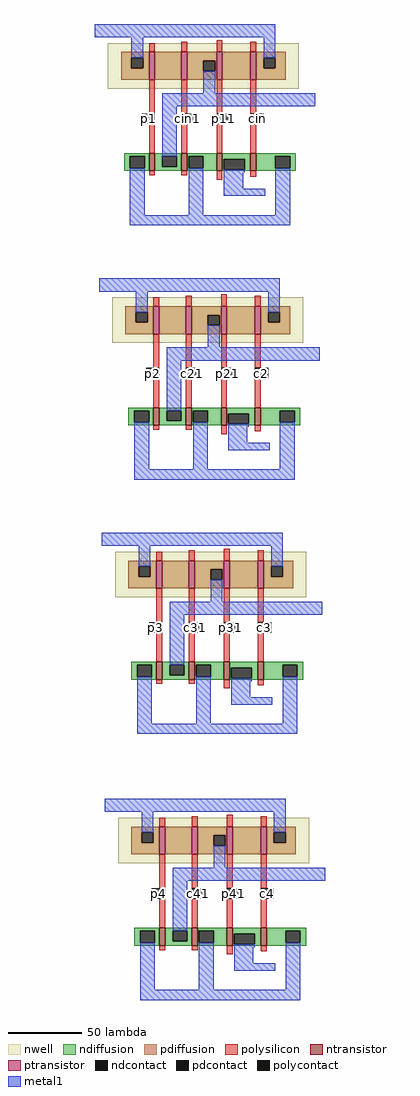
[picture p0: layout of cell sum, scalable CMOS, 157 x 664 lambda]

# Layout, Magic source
magic
tech scmos
use xor_cla  xor_cla_0
transform 1 0 77 0 1 85
box -81 -80 69 57
use xor_cla  xor_cla_1
transform 1 0 80 0 1 -88
box -81 -80 69 57
use xor_cla  xor_cla_2
transform 1 0 82 0 1 -261
box -81 -80 69 57
use xor_cla  xor_cla_3
transform 1 0 84 0 1 -442
box -81 -80 69 57
<< labels >>
rlabel space 28 74 37 81 1 p1
rlabel space 55 74 64 81 1 cin1
rlabel space 79 74 88 81 1 p11
rlabel space 102 74 111 81 1 cin
rlabel space 31 -99 40 -92 1 p2
rlabel space 105 -99 114 -92 1 c2
rlabel space 58 -99 67 -92 1 c21
rlabel space 82 -99 91 -92 1 p21
rlabel space 33 -272 42 -265 1 p3
rlabel space 84 -272 93 -265 1 p31
rlabel space 60 -272 69 -265 1 c31
rlabel space 107 -272 116 -265 1 c3
rlabel space 35 -453 44 -446 1 p4
rlabel space 62 -453 71 -446 1 c41
rlabel space 86 -453 95 -446 1 p41
rlabel space 109 -453 118 -446 1 c4
<< end >>

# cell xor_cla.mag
magic
tech scmos
<< nwell >>
rect -72 13 58 44
<< polysilicon >>
rect -44 38 -40 44
rect -22 38 -18 45
rect 2 38 6 46
rect 25 38 29 45
rect -44 -4 -40 19
rect -44 -31 -40 -11
rect -22 -4 -18 19
rect 2 -4 6 19
rect 25 -4 29 19
rect -22 -31 -18 -11
rect 2 -31 6 -11
rect 25 -31 29 -11
rect -44 -46 -40 -43
rect -22 -46 -18 -43
rect 2 -49 6 -43
rect 25 -47 29 -43
<< ndiffusion >>
rect -61 -33 -44 -31
rect -61 -41 -57 -33
rect -47 -41 -44 -33
rect -61 -43 -44 -41
rect -40 -33 -22 -31
rect -40 -40 -35 -33
rect -25 -40 -22 -33
rect -40 -43 -22 -40
rect -18 -33 2 -31
rect -18 -41 -17 -33
rect -7 -41 2 -33
rect -18 -43 2 -41
rect 6 -35 25 -31
rect 6 -42 7 -35
rect 21 -42 25 -35
rect 6 -43 25 -42
rect 29 -33 56 -31
rect 29 -41 42 -33
rect 52 -41 56 -33
rect 29 -43 56 -41
<< pdiffusion >>
rect -63 34 -44 38
rect -63 27 -56 34
rect -48 27 -44 34
rect -63 19 -44 27
rect -40 19 -22 38
rect -18 32 2 38
rect -18 25 -7 32
rect 1 25 2 32
rect -18 19 2 25
rect 6 19 25 38
rect 29 34 49 38
rect 29 27 34 34
rect 42 27 49 34
rect 29 19 49 27
<< metal1 >>
rect -81 48 42 57
rect -56 34 -48 48
rect 34 34 42 48
rect -7 10 1 25
rect -35 1 69 10
rect -35 -33 -25 1
rect -57 -73 -47 -41
rect -17 -73 -7 -41
rect 7 -44 21 -42
rect 7 -55 20 -44
rect 7 -60 35 -55
rect 42 -73 52 -41
rect -57 -80 52 -73
<< ntransistor >>
rect -44 -43 -40 -31
rect -22 -43 -18 -31
rect 2 -43 6 -31
rect 25 -43 29 -31
<< ptransistor >>
rect -44 19 -40 38
rect -22 19 -18 38
rect 2 19 6 38
rect 25 19 29 38
<< polycontact >>
rect -49 -11 -40 -4
rect -22 -11 -13 -4
rect 2 -11 11 -4
rect 25 -11 34 -4
<< ndcontact >>
rect -57 -41 -47 -33
rect -35 -40 -25 -33
rect -17 -41 -7 -33
rect 7 -42 21 -35
rect 42 -41 52 -33
<< pdcontact >>
rect -56 27 -48 34
rect -7 25 1 32
rect 34 27 42 34
<< labels >>
rlabel metal1 -20 52 -19 52 5 vdd
rlabel metal1 29 -57 29 -57 1 gnd
<< end >>
